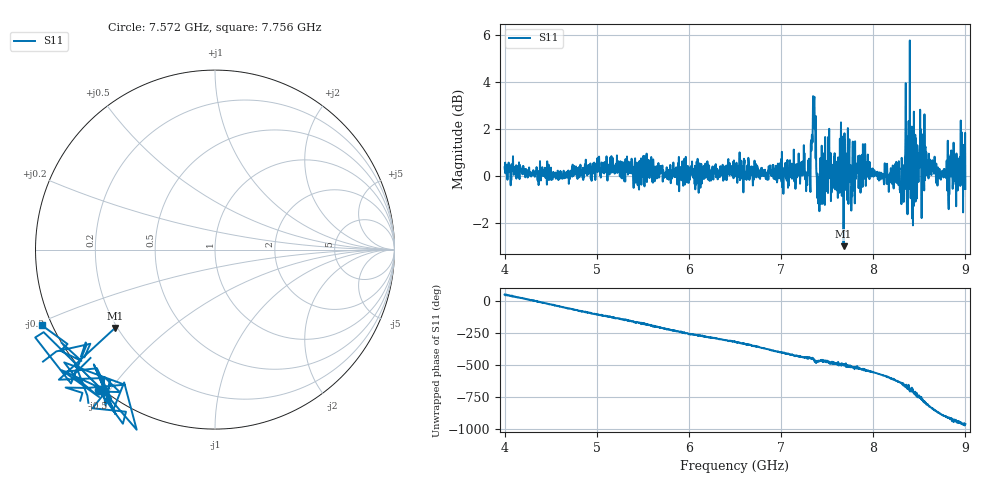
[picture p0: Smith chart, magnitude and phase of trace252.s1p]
! Created with skrf 1.8.0 (http://scikit-rf.org).
# Hz S RI R 50.0
!freq ReS11 ImS11
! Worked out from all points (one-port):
!   1601 points, 4 GHz to 9 GHz, reference 50 ohm
!   lowest |S11| = -3.0 dB at 7.678 GHz (marker M1), VSWR 5.84, Z = 9.56 - j16.7 ohm
!   |S11| at or under -10 dB: nowhere
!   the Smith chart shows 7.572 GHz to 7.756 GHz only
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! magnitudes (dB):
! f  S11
! 4 GHz  0.4
! 4.625 GHz  -0.1
! 5.25 GHz  0.0
! 5.875 GHz  -0.4
! 6.5 GHz  0.4
! 7.125 GHz  0.4
! 7.294 GHz  0.7
! 7.353 GHz  2.1
! 7.412 GHz  -0.4
! 7.503 GHz  0.0
! 7.591 GHz  0.5
! 7.65 GHz  2.3
! 7.678 GHz  -3.0
! 7.75 GHz  0.3
! 7.891 GHz  0.2
! 8.097 GHz  0.1
! 8.259 GHz  0.3
! 8.316 GHz  -0.3
! 8.334 GHz  -0.4
! 8.375 GHz  1.7
! 8.412 GHz  0.4
! 8.422 GHz  -1.8
! 8.447 GHz  1.7
! 8.459 GHz  -1.1
! 8.519 GHz  1.4
! 8.806 GHz  0.6
! 8.972 GHz  0.5
! 9 GHz  -0.6
